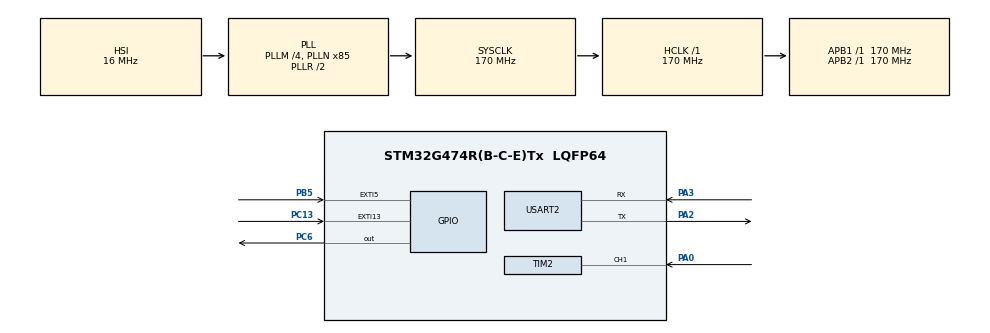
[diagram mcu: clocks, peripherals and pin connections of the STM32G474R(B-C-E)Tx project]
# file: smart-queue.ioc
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Mcu.Family=STM32G4
Mcu.Name=STM32G474R(B-C-E)Tx
Mcu.Package=LQFP64
NVIC.EXTI15_10_IRQn=true\:0\:0\:false\:false\:true\:true\:true\:true
NVIC.EXTI9_5_IRQn=true\:4\:0\:true\:false\:true\:true\:true\:true
NVIC.PriorityGroup=NVIC_PRIORITYGROUP_4
NVIC.TIM2_IRQn=true\:0\:0\:false\:false\:true\:true\:true\:true
NVIC.TIM6_DAC_IRQn=true\:0\:0\:false\:false\:true\:true\:true\:true
NVIC.USART2_IRQn=true\:0\:0\:false\:false\:true\:true\:true\:true
PA0.Signal=S_TIM2_CH1
PA13.GPIO_Label=T_SWDIO
PA13.Signal=SYS_JTMS-SWDIO
PA14.GPIO_Label=T_SWCLK
PA14.Signal=SYS_JTCK-SWCLK
PA2.Mode=Asynchronous
PA2.Signal=USART2_TX
PA3.Mode=Asynchronous
PA3.Signal=USART2_RX
PB3.GPIO_Label=T_SWO
PB3.Signal=SYS_JTDO-SWO
PB5.GPIO_ModeDefaultEXTI=GPIO_MODE_IT_FALLING
PB5.GPIO_PuPd=GPIO_PULLUP
PB5.Signal=GPXTI5
PC13.Signal=GPXTI13
PC14-OSC32_IN.GPIO_Label=RCC_OSC32_IN
PC14-OSC32_IN.Signal=RCC_OSC32_IN
PC15-OSC32_OUT.GPIO_Label=RCC_OSC32_OUT
PC15-OSC32_OUT.Signal=RCC_OSC32_OUT
PC6.GPIO_PuPd=GPIO_PULLDOWN
PC6.Signal=GPIO_Output
PC7.Signal=S_TIM3_CH2
PC8.Signal=S_TIM3_CH3
PF0-OSC_IN.GPIO_Label=RCC_OSC_IN
PF0-OSC_IN.Signal=RCC_OSC_IN
PF1-OSC_OUT.GPIO_Label=RCC_OSC_OUT
PF1-OSC_OUT.Signal=RCC_OSC_OUT
ProjectManager.HeapSize=0x200
ProjectManager.StackSize=0x400
ProjectManager.TargetToolchain=STM32CubeIDE
RCC.ADC12Freq_Value=170000000
RCC.ADC345Freq_Value=170000000
RCC.AHBFreq_Value=170000000
RCC.APB1Freq_Value=170000000
RCC.APB1TimFreq_Value=170000000
RCC.APB2Freq_Value=170000000
RCC.APB2TimFreq_Value=170000000
RCC.CortexFreq_Value=170000000
RCC.EXTERNAL_CLOCK_VALUE=12288000
RCC.HCLKFreq_Value=170000000
RCC.HSE_VALUE=24000000
RCC.HSI48_VALUE=48000000
RCC.HSI_VALUE=16000000
RCC.LSE_VALUE=32768
RCC.PLLM=RCC_PLLM_DIV4
RCC.PLLN=85
RCC.RTCClockSelection=RCC_RTCCLKSOURCE_LSE
RCC.SYSCLKFreq_VALUE=170000000
RCC.SYSCLKSource=RCC_SYSCLKSOURCE_PLLCLK
RCC.USBFreq_Value=170000000
RCC.VCOOutputFreq_Value=340000000
SH.S_TIM2_CH1.0=TIM2_CH1,TriggerSource_TI1FP1
SH.S_TIM2_CH1.1=TIM2_CH1,Input_Capture1_from_TI1
SH.S_TIM3_CH2.0=TIM3_CH2
SH.S_TIM3_CH3.0=TIM3_CH3
TIM2.Channel-Input_Capture1_from_TI1=TIM_CHANNEL_1
TIM2.Channel-Input_Capture2_from_TI1_63=TIM_CHANNEL_2
TIM2.Prescaler=169
TIM3.Channel-PWM\ Generation2\ No\ Output=TIM_CHANNEL_2
TIM3.Channel-PWM\ Generation3\ No\ Output=TIM_CHANNEL_3
TIM3.PeriodNoDither=999
TIM3.Prescaler=169
TIM6.PeriodNoDither=999
TIM6.Prescaler=169
USART2.VirtualMode-Asynchronous=VM_ASYNC
VP_SYS_VS_DBSignals.Mode=DisableDeadBatterySignals
VP_TIM2_VS_ClockSourceINT.Mode=Internal
VP_TIM2_VS_ControllerModeReset.Mode=Reset Mode
VP_TIM2_VS_indirect_ch1.Mode=Input_Capture2_from_TI1_63
VP_TIM3_VS_ClockSourceINT.Mode=Internal
VP_TIM3_VS_no_output2.Mode=PWM Generation2 No Output
VP_TIM3_VS_no_output3.Mode=PWM Generation3 No Output
VP_TIM6_VS_ClockSourceINT.Mode=Enable_Timer
board=NUCLEO-G474RE

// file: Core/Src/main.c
/* USER CODE BEGIN Header */
/**
  ******************************************************************************
  * @file           : main.c
  * @brief          : Main program body
  ******************************************************************************
  * @attention
  *
  * Copyright (c) 2026 STMicroelectronics.
  * All rights reserved.
  *
  * This software is licensed under terms that can be found in the LICENSE file
  * in the root directory of this software component.
  * If no LICENSE file comes with this software, it is provided AS-IS.
  *
  ******************************************************************************
  */
/* USER CODE END Header */
#include "main.h"

/* USER CODE BEGIN Includes */
#include <stdio.h>
#include <string.h>
/* USER CODE END Includes */

/* USER CODE BEGIN PD */
#define UART_RX_BUFFER_SIZE 64U
#define QUEUE_SIZE          16U
#define CMD_SIZE            32U
#define CALL_TIMEOUT_MS     10000U
#define LED_MAX_CCR         1000U
/* USER CODE END PD */

TIM_HandleTypeDef htim2;
TIM_HandleTypeDef htim3;
TIM_HandleTypeDef htim6;

UART_HandleTypeDef huart2;

/* USER CODE BEGIN PV */
volatile uint8_t ticket_button_flag = 0;
volatile uint32_t ticket_button_tick = 0;
uint16_t ticket_number = 0;
uint8_t ticket_button_released = 1;
uint32_t ticket_release_tick = 0;
uint8_t uart_rx_byte;
volatile uint8_t uart_rx_buffer[UART_RX_BUFFER_SIZE];
volatile uint16_t uart_rx_head = 0;
volatile uint16_t uart_rx_tail = 0;

/* 排隊用環形緩衝 */
uint16_t queue_buf[QUEUE_SIZE];
uint8_t queue_head = 0;
uint8_t queue_tail = 0;
uint8_t queue_count = 0;

/* 指令列 */
char cmd_line[CMD_SIZE];
uint8_t cmd_len = 0;

/* 叫號狀態 */
uint16_t called_ticket = 0;
uint32_t called_tick = 0;
uint8_t checked_in = 0;

/* 緊急暫停（B1） */
volatile uint8_t emergency_flag = 0;
volatile uint32_t emergency_tick = 0;
uint8_t emergency_active = 0;
/* USER CODE END PV */

void SystemClock_Config(void);
static void MX_GPIO_Init(void);
static void MX_TIM2_Init(void);
static void MX_TIM3_Init(void);
static void MX_TIM6_Init(void);
static void MX_USART2_UART_Init(void);
/* USER CODE BEGIN PFP */
void UART_Print(const char *text);
void Take_Ticket(void);
void Call_Next(void);
void Command_Handle(const char *line);

/* USER CODE END PFP */

int main(void)
{

  /* MCU Configuration--------------------------------------------------------*/

  /* Reset of all peripherals, Initializes the Flash interface and the Systick. */
  HAL_Init();

  /* Configure the system clock */
  SystemClock_Config();

  /* Initialize all configured peripherals */
  MX_GPIO_Init();
  MX_TIM2_Init();
  MX_TIM3_Init();
  MX_TIM6_Init();
  MX_USART2_UART_Init();
  /* USER CODE BEGIN 2 */
  const char boot_msg[] = "QUEUE READY\r\n";
  HAL_UART_Transmit(&huart2, (const uint8_t *)boot_msg, sizeof(boot_msg) - 1, 100);
  HAL_UART_Receive_IT(&huart2, &uart_rx_byte, 1);
  HAL_TIM_PWM_Start(&htim3, TIM_CHANNEL_2);   /* 黃燈 PC7 */
  HAL_TIM_PWM_Start(&htim3, TIM_CHANNEL_3);   /* 綠燈 PC8 */
  /* USER CODE END 2 */

  /* Infinite loop */
  while (1)
  {

    /* USER CODE BEGIN 3 */
    if (ticket_button_flag && (HAL_GetTick() - ticket_button_tick) >= 50U)
    {
      ticket_button_flag = 0;

      if (ticket_button_released &&
          HAL_GPIO_ReadPin(GPIOB, GPIO_PIN_5) == GPIO_PIN_RESET)
      {
        ticket_button_released = 0;
        ticket_release_tick = HAL_GetTick();

        Take_Ticket();
      }
    }

    if (!ticket_button_released)
    {
      if (HAL_GPIO_ReadPin(GPIOB, GPIO_PIN_5) == GPIO_PIN_RESET)
      {
        ticket_release_tick = HAL_GetTick();
      }
      else if ((HAL_GetTick() - ticket_release_tick) >= 50U)
      {
        ticket_button_released = 1;
      }
    }

    /* UART：一次取一個字，收到 Enter 才判斷整行指令 */
    while (uart_rx_tail != uart_rx_head)
    {
      uint8_t rx_char = uart_rx_buffer[uart_rx_tail];
      uart_rx_tail = (uart_rx_tail + 1U) % UART_RX_BUFFER_SIZE;

      if ((rx_char == '\r') || (rx_char == '\n'))
      {
        if (cmd_len > 0U)
        {
          UART_Print("\r\n");
          cmd_line[cmd_len] = '\0';
          Command_Handle(cmd_line);
          cmd_len = 0;
        }
      }
      else
      {
        HAL_UART_Transmit(&huart2, &rx_char, 1, 100);   /* 回顯 */
        if (cmd_len < (CMD_SIZE - 1U))
        {
          cmd_line[cmd_len] = (char)rx_char;
          cmd_len++;
        }
      }
    }

    /* 緊急按鈕 B1：去彈跳 50 ms，且確認仍按著才切換 */
    if (emergency_flag && (HAL_GetTick() - emergency_tick) >= 50U)
    {
      emergency_flag = 0;

      if (HAL_GPIO_ReadPin(GPIOC, GPIO_PIN_13) == GPIO_PIN_SET)
      {
        emergency_active = !emergency_active;
        UART_Print(emergency_active ? "緊急暫停\r\n" : "恢復正常\r\n");

        if (!emergency_active && (called_ticket != 0U))
        {
          called_tick = HAL_GetTick();   /* 恢復後重新計時 */
        }
      }
    }

    /* 叫號後 10 秒沒報到就過號（暫停時不計） */
    if (!emergency_active && (called_ticket != 0U) && !checked_in &&
        (HAL_GetTick() - called_tick) >= CALL_TIMEOUT_MS)
    {
      char msg[24];
      snprintf(msg, sizeof(msg), "%03u 過號\r\n", called_ticket);
      UART_Print(msg);
      called_ticket = 0;
      Call_Next();
    }

    /* 燈號：黃燈依人數、綠燈等待時呼吸／報到恆亮、紅燈緊急 */
    {
      uint32_t yellow = (uint32_t)queue_count * LED_MAX_CCR / QUEUE_SIZE;
      uint32_t green = 0;

      if (called_ticket != 0U)
      {
        if (checked_in)
        {
          green = LED_MAX_CCR;
        }
        else
        {
          uint32_t phase = HAL_GetTick() % 2000U;
          green = (phase < 1000U) ? phase : (2000U - phase);
        }
      }

      if (emergency_active)
      {
        yellow = 0;
        green = 0;
      }

      __HAL_TIM_SET_COMPARE(&htim3, TIM_CHANNEL_2, yellow);
      __HAL_TIM_SET_COMPARE(&htim3, TIM_CHANNEL_3, green);
      HAL_GPIO_WritePin(GPIOC, GPIO_PIN_6, emergency_active ? GPIO_PIN_SET : GPIO_PIN_RESET);
    }
  }
  /* USER CODE END 3 */
}

void SystemClock_Config(void)
{
  RCC_OscInitTypeDef RCC_OscInitStruct = {0};
  RCC_ClkInitTypeDef RCC_ClkInitStruct = {0};

  /** Configure the main internal regulator output voltage
  */
  HAL_PWREx_ControlVoltageScaling(PWR_REGULATOR_VOLTAGE_SCALE1_BOOST);

  /** Initializes the RCC Oscillators according to the specified parameters
  * in the RCC_OscInitTypeDef structure.
  */
  RCC_OscInitStruct.OscillatorType = RCC_OSCILLATORTYPE_HSI;
  RCC_OscInitStruct.HSIState = RCC_HSI_ON;
  RCC_OscInitStruct.HSICalibrationValue = RCC_HSICALIBRATION_DEFAULT;
  RCC_OscInitStruct.PLL.PLLState = RCC_PLL_ON;
  RCC_OscInitStruct.PLL.PLLSource = RCC_PLLSOURCE_HSI;
  RCC_OscInitStruct.PLL.PLLM = RCC_PLLM_DIV4;
  RCC_OscInitStruct.PLL.PLLN = 85;
  RCC_OscInitStruct.PLL.PLLP = RCC_PLLP_DIV2;
  RCC_OscInitStruct.PLL.PLLQ = RCC_PLLQ_DIV2;
  RCC_OscInitStruct.PLL.PLLR = RCC_PLLR_DIV2;
  if (HAL_RCC_OscConfig(&RCC_OscInitStruct) != HAL_OK)
  {
    Error_Handler();
  }

  /** Initializes the CPU, AHB and APB buses clocks
  */
  RCC_ClkInitStruct.ClockType = RCC_CLOCKTYPE_HCLK|RCC_CLOCKTYPE_SYSCLK
                              |RCC_CLOCKTYPE_PCLK1|RCC_CLOCKTYPE_PCLK2;
  RCC_ClkInitStruct.SYSCLKSource = RCC_SYSCLKSOURCE_PLLCLK;
  RCC_ClkInitStruct.AHBCLKDivider = RCC_SYSCLK_DIV1;
  RCC_ClkInitStruct.APB1CLKDivider = RCC_HCLK_DIV1;
  RCC_ClkInitStruct.APB2CLKDivider = RCC_HCLK_DIV1;

  if (HAL_RCC_ClockConfig(&RCC_ClkInitStruct, FLASH_LATENCY_4) != HAL_OK)
  {
    Error_Handler();
  }
}

static void MX_TIM2_Init(void)
{

  TIM_ClockConfigTypeDef sClockSourceConfig = {0};
  TIM_SlaveConfigTypeDef sSlaveConfig = {0};
  TIM_MasterConfigTypeDef sMasterConfig = {0};
  TIM_IC_InitTypeDef sConfigIC = {0};

  htim2.Instance = TIM2;
  htim2.Init.Prescaler = 169;
  htim2.Init.CounterMode = TIM_COUNTERMODE_UP;
  htim2.Init.Period = 4294967295;
  htim2.Init.ClockDivision = TIM_CLOCKDIVISION_DIV1;
  htim2.Init.AutoReloadPreload = TIM_AUTORELOAD_PRELOAD_DISABLE;
  if (HAL_TIM_Base_Init(&htim2) != HAL_OK)
  {
    Error_Handler();
  }
  sClockSourceConfig.ClockSource = TIM_CLOCKSOURCE_INTERNAL;
  if (HAL_TIM_ConfigClockSource(&htim2, &sClockSourceConfig) != HAL_OK)
  {
    Error_Handler();
  }
  if (HAL_TIM_IC_Init(&htim2) != HAL_OK)
  {
    Error_Handler();
  }
  sSlaveConfig.SlaveMode = TIM_SLAVEMODE_RESET;
  sSlaveConfig.InputTrigger = TIM_TS_TI1FP1;
  sSlaveConfig.TriggerPolarity = TIM_INPUTCHANNELPOLARITY_RISING;
  sSlaveConfig.TriggerFilter = 0;
  if (HAL_TIM_SlaveConfigSynchro(&htim2, &sSlaveConfig) != HAL_OK)
  {
    Error_Handler();
  }
  sMasterConfig.MasterOutputTrigger = TIM_TRGO_RESET;
  sMasterConfig.MasterSlaveMode = TIM_MASTERSLAVEMODE_DISABLE;
  if (HAL_TIMEx_MasterConfigSynchronization(&htim2, &sMasterConfig) != HAL_OK)
  {
    Error_Handler();
  }
  sConfigIC.ICPolarity = TIM_INPUTCHANNELPOLARITY_RISING;
  sConfigIC.ICSelection = TIM_ICSELECTION_DIRECTTI;
  sConfigIC.ICPrescaler = TIM_ICPSC_DIV1;
  sConfigIC.ICFilter = 0;
  if (HAL_TIM_IC_ConfigChannel(&htim2, &sConfigIC, TIM_CHANNEL_1) != HAL_OK)
  {
    Error_Handler();
  }
  sConfigIC.ICSelection = TIM_ICSELECTION_INDIRECTTI;
  if (HAL_TIM_IC_ConfigChannel(&htim2, &sConfigIC, TIM_CHANNEL_2) != HAL_OK)
  {
    Error_Handler();
  }

}

static void MX_TIM3_Init(void)
{

  TIM_ClockConfigTypeDef sClockSourceConfig = {0};
  TIM_MasterConfigTypeDef sMasterConfig = {0};
  TIM_OC_InitTypeDef sConfigOC = {0};

  htim3.Instance = TIM3;
  htim3.Init.Prescaler = 169;
  htim3.Init.CounterMode = TIM_COUNTERMODE_UP;
  htim3.Init.Period = 999;
  htim3.Init.ClockDivision = TIM_CLOCKDIVISION_DIV1;
  htim3.Init.AutoReloadPreload = TIM_AUTORELOAD_PRELOAD_DISABLE;
  if (HAL_TIM_Base_Init(&htim3) != HAL_OK)
  {
    Error_Handler();
  }
  sClockSourceConfig.ClockSource = TIM_CLOCKSOURCE_INTERNAL;
  if (HAL_TIM_ConfigClockSource(&htim3, &sClockSourceConfig) != HAL_OK)
  {
    Error_Handler();
  }
  if (HAL_TIM_PWM_Init(&htim3) != HAL_OK)
  {
    Error_Handler();
  }
  sMasterConfig.MasterOutputTrigger = TIM_TRGO_RESET;
  sMasterConfig.MasterSlaveMode = TIM_MASTERSLAVEMODE_DISABLE;
  if (HAL_TIMEx_MasterConfigSynchronization(&htim3, &sMasterConfig) != HAL_OK)
  {
    Error_Handler();
  }
  sConfigOC.OCMode = TIM_OCMODE_PWM1;
  sConfigOC.Pulse = 0;
  sConfigOC.OCPolarity = TIM_OCPOLARITY_HIGH;
  sConfigOC.OCFastMode = TIM_OCFAST_DISABLE;
  if (HAL_TIM_PWM_ConfigChannel(&htim3, &sConfigOC, TIM_CHANNEL_2) != HAL_OK)
  {
    Error_Handler();
  }
  if (HAL_TIM_PWM_ConfigChannel(&htim3, &sConfigOC, TIM_CHANNEL_3) != HAL_OK)
  {
    Error_Handler();
  }
  /* USER CODE BEGIN TIM3_Init 2 */
  GPIO_InitTypeDef GPIO_InitStruct = {0};

  GPIO_InitStruct.Pin = GPIO_PIN_7 | GPIO_PIN_8;
  GPIO_InitStruct.Mode = GPIO_MODE_AF_PP;
  GPIO_InitStruct.Pull = GPIO_NOPULL;
  GPIO_InitStruct.Speed = GPIO_SPEED_FREQ_LOW;
  GPIO_InitStruct.Alternate = GPIO_AF2_TIM3;
  HAL_GPIO_Init(GPIOC, &GPIO_InitStruct);
  /* USER CODE END TIM3_Init 2 */

}

static void MX_TIM6_Init(void)
{

  TIM_MasterConfigTypeDef sMasterConfig = {0};

  htim6.Instance = TIM6;
  htim6.Init.Prescaler = 169;
  htim6.Init.CounterMode = TIM_COUNTERMODE_UP;
  htim6.Init.Period = 999;
  htim6.Init.AutoReloadPreload = TIM_AUTORELOAD_PRELOAD_DISABLE;
  if (HAL_TIM_Base_Init(&htim6) != HAL_OK)
  {
    Error_Handler();
  }
  sMasterConfig.MasterOutputTrigger = TIM_TRGO_RESET;
  sMasterConfig.MasterSlaveMode = TIM_MASTERSLAVEMODE_DISABLE;
  if (HAL_TIMEx_MasterConfigSynchronization(&htim6, &sMasterConfig) != HAL_OK)
  {
    Error_Handler();
  }

}

static void MX_USART2_UART_Init(void)
{

  huart2.Instance = USART2;
  huart2.Init.BaudRate = 115200;
  huart2.Init.WordLength = UART_WORDLENGTH_8B;
  huart2.Init.StopBits = UART_STOPBITS_1;
  huart2.Init.Parity = UART_PARITY_NONE;
  huart2.Init.Mode = UART_MODE_TX_RX;
  huart2.Init.HwFlowCtl = UART_HWCONTROL_NONE;
  huart2.Init.OverSampling = UART_OVERSAMPLING_16;
  huart2.Init.OneBitSampling = UART_ONE_BIT_SAMPLE_DISABLE;
  huart2.Init.ClockPrescaler = UART_PRESCALER_DIV1;
  huart2.AdvancedInit.AdvFeatureInit = UART_ADVFEATURE_NO_INIT;
  if (HAL_UART_Init(&huart2) != HAL_OK)
  {
    Error_Handler();
  }
  if (HAL_UARTEx_SetTxFifoThreshold(&huart2, UART_TXFIFO_THRESHOLD_1_8) != HAL_OK)
  {
    Error_Handler();
  }
  if (HAL_UARTEx_SetRxFifoThreshold(&huart2, UART_RXFIFO_THRESHOLD_1_8) != HAL_OK)
  {
    Error_Handler();
  }
  if (HAL_UARTEx_DisableFifoMode(&huart2) != HAL_OK)
  {
    Error_Handler();
  }

}

static void MX_GPIO_Init(void)
{
  GPIO_InitTypeDef GPIO_InitStruct = {0};

  /* GPIO Ports Clock Enable */
  __HAL_RCC_GPIOC_CLK_ENABLE();
  __HAL_RCC_GPIOF_CLK_ENABLE();
  __HAL_RCC_GPIOA_CLK_ENABLE();
  __HAL_RCC_GPIOB_CLK_ENABLE();

  /*Configure GPIO pin Output Level */
  HAL_GPIO_WritePin(GPIOC, GPIO_PIN_6, GPIO_PIN_RESET);

  /*Configure GPIO pin : PC13 */
  GPIO_InitStruct.Pin = GPIO_PIN_13;
  GPIO_InitStruct.Mode = GPIO_MODE_IT_RISING;
  GPIO_InitStruct.Pull = GPIO_NOPULL;
  HAL_GPIO_Init(GPIOC, &GPIO_InitStruct);

  /*Configure GPIO pin : PC6 */
  GPIO_InitStruct.Pin = GPIO_PIN_6;
  GPIO_InitStruct.Mode = GPIO_MODE_OUTPUT_PP;
  GPIO_InitStruct.Pull = GPIO_PULLDOWN;
  GPIO_InitStruct.Speed = GPIO_SPEED_FREQ_LOW;
  HAL_GPIO_Init(GPIOC, &GPIO_InitStruct);

  /*Configure GPIO pin : PB5 */
  GPIO_InitStruct.Pin = GPIO_PIN_5;
  GPIO_InitStruct.Mode = GPIO_MODE_IT_FALLING;
  GPIO_InitStruct.Pull = GPIO_PULLUP;
  HAL_GPIO_Init(GPIOB, &GPIO_InitStruct);

  /* EXTI interrupt init*/
  HAL_NVIC_SetPriority(EXTI9_5_IRQn, 4, 0);
  HAL_NVIC_EnableIRQ(EXTI9_5_IRQn);

  HAL_NVIC_SetPriority(EXTI15_10_IRQn, 0, 0);
  HAL_NVIC_EnableIRQ(EXTI15_10_IRQn);

}

/* USER CODE BEGIN 4 */
void HAL_GPIO_EXTI_Callback(uint16_t GPIO_Pin)
{
  if (GPIO_Pin == GPIO_PIN_5)
  {
    ticket_button_tick = HAL_GetTick();
    ticket_button_flag = 1;
  }
  else if (GPIO_Pin == GPIO_PIN_13)
  {
    emergency_tick = HAL_GetTick();
    emergency_flag = 1;
  }
}

void UART_Print(const char *text)
{
  HAL_UART_Transmit(&huart2, (const uint8_t *)text, (uint16_t)strlen(text), 100);
}

/* 抽號：按鈕或 take 指令都走這裡 */
void Take_Ticket(void)
{
  char msg[24];

  if (queue_count >= QUEUE_SIZE)
  {
    UART_Print("客滿\r\n");
    return;
  }

  ticket_number++;
  if (ticket_number > 999U)
  {
    ticket_number = 1;
  }

  queue_buf[queue_head] = ticket_number;
  queue_head = (queue_head + 1U) % QUEUE_SIZE;
  queue_count++;

  snprintf(msg, sizeof(msg), "%03u\r\n", ticket_number);
  UART_Print(msg);
}

/* 叫號：從 tail 取出最前面的人 */
void Call_Next(void)
{
  char msg[32];

  if (queue_count == 0U)
  {
    called_ticket = 0;
    UART_Print("目前沒有人排隊\r\n");
    return;
  }

  called_ticket = queue_buf[queue_tail];
  queue_tail = (queue_tail + 1U) % QUEUE_SIZE;
  queue_count--;
  called_tick = HAL_GetTick();
  checked_in = 0;

  snprintf(msg, sizeof(msg), "請 %03u 到櫃台\r\n", called_ticket);
  UART_Print(msg);
}

void Command_Handle(const char *line)
{
  if (strcmp(line, "take") == 0)
  {
    Take_Ticket();
  }
  else if (strcmp(line, "next") == 0)
  {
    if (emergency_active)
    {
      return;   /* 緊急暫停時 next 沒反應 */
    }

    if ((called_ticket != 0U) && !checked_in)
    {
      UART_Print("請等待目前號碼報到或過號\r\n");
      return;
    }

    Call_Next();
  }
  else if (strcmp(line, "ok") == 0)
  {
    char msg[24];
    if ((called_ticket != 0U) && !checked_in)
    {
      checked_in = 1;
      snprintf(msg, sizeof(msg), "%03u 報到\r\n", called_ticket);
      UART_Print(msg);
    }
    else
    {
      UART_Print("目前沒有等待報到的號碼\r\n");
    }
  }
  else if (strcmp(line, "list") == 0)
  {
    char msg[8];
    uint8_t idx = queue_tail;

    if (queue_count == 0U)
    {
      UART_Print("目前沒有人排隊\r\n");
      return;
    }
    UART_Print("排隊中：");
    for (uint8_t i = 0; i < queue_count; i++)
    {
      snprintf(msg, sizeof(msg), "%03u ", queue_buf[idx]);
      UART_Print(msg);
      idx = (idx + 1U) % QUEUE_SIZE;
    }
    UART_Print("\r\n");
  }
}

void HAL_UART_RxCpltCallback(UART_HandleTypeDef *huart)
{
  if (huart->Instance == USART2)
  {
    uint16_t next_head = (uart_rx_head + 1U) % UART_RX_BUFFER_SIZE;

    if (next_head != uart_rx_tail)
    {
      uart_rx_buffer[uart_rx_head] = uart_rx_byte;
      uart_rx_head = next_head;
    }

    HAL_UART_Receive_IT(&huart2, &uart_rx_byte, 1);
  }
}

void HAL_UART_ErrorCallback(UART_HandleTypeDef *huart)
{
  if (huart->Instance == USART2)
  {
    HAL_UART_Receive_IT(&huart2, &uart_rx_byte, 1);
  }
}
/* USER CODE END 4 */

void Error_Handler(void)
{
  __disable_irq();
  while (1)
  {
  }
}
